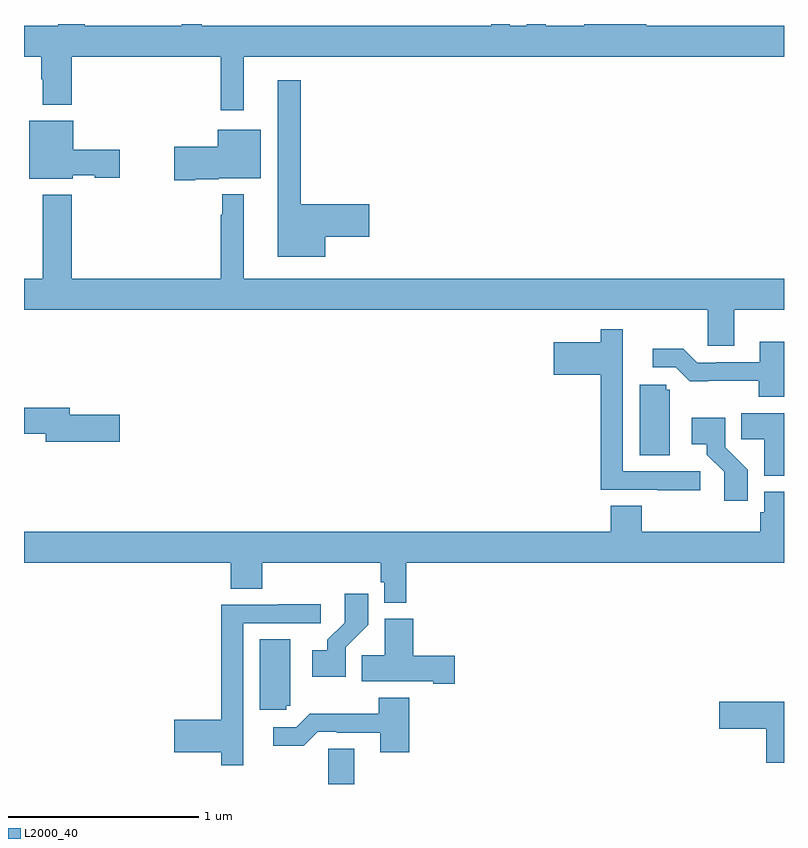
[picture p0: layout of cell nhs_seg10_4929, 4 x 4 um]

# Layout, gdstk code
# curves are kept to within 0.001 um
import gdstk
lib = gdstk.Library(unit=1e-6, precision=1e-09)
def R(c, l, rs):  # rectangles x0, y0, x1, y1
    for r in rs: c.add(gdstk.rectangle(r[:2], r[2:], *l))
def P(c, l, *ps):  # polygons
    for p in ps: c.add(gdstk.Polygon(p, *l))
L2000_40 = (2000, 40)

nhs_seg10_4929 = lib.new_cell('nhs_seg10_4929')
R(nhs_seg10_4929, L2000_40, [(396.6,1284.5,396.739,1284.686)])
P(nhs_seg10_4929, L2000_40, [(396.157,1288.328),(399,1288.328),(399,1288.492),(398.275,1288.492),(398.275,1288.5),(397.949,1288.5),(397.949,1288.492),(397.745,1288.492),(397.745,1288.5),(397.647,1288.5),(397.647,1288.492),(397.557,1288.492),(397.557,1288.5),(397.46,1288.5),(397.46,1288.492),(395.935,1288.492),(395.935,1288.5),(395.831,1288.5),(395.831,1288.492),(395.32,1288.492),(395.32,1288.5),(395.181,1288.5),(395.181,1288.492),(395,1288.492),(395,1288.328),(395.092,1288.328),(395.092,1288.208),(395.099,1288.208),(395.099,1288.076),(395.252,1288.076),(395.252,1288.328),(396.036,1288.328),(396.036,1288.047),(396.157,1288.047)],
  [(396.586,1287.38),(396.817,1287.38),(396.817,1287.551),(396.457,1287.551),(396.457,1288.204),(396.335,1288.204),(396.335,1287.275),(396.586,1287.275)],
  [(395.256,1287.704),(395.373,1287.704),(395.373,1287.692),(395.503,1287.692),(395.503,1287.839),(395.26,1287.839),(395.26,1287.991),(395.027,1287.991),(395.027,1287.686),(395.256,1287.686)],
  [(395.902,1287.683),(396.024,1287.683),(396.024,1287.689),(396.247,1287.689),(396.247,1287.943),(396.02,1287.943),(396.02,1287.855),(395.79,1287.855),(395.79,1287.677),(395.902,1287.677)],
  [(398.737,1286.996),(399,1286.996),(399,1287.16),(396.157,1287.16),(396.157,1287.604),(396.043,1287.604),(396.043,1287.497),(396.036,1287.497),(396.036,1287.16),(395.252,1287.16),(395.252,1287.601),(395.099,1287.601),(395.099,1287.16),(395,1287.16),(395,1286.996),(398.598,1286.996),(398.598,1286.806),(398.737,1286.806)],
  [(398.56,1286.145),(398.151,1286.145),(398.151,1286.67),(398.152,1286.67),(398.152,1286.893),(398.035,1286.893),(398.035,1286.824),(397.788,1286.824),(397.788,1286.654),(398.035,1286.654),(398.035,1286.049),(398.335,1286.049),(398.335,1286.047),(398.56,1286.047)],
  [(399,1286.827),(398.873,1286.827),(398.873,1286.721),(398.644,1286.721),(398.644,1286.718),(398.544,1286.718),(398.471,1286.791),(398.31,1286.791),(398.31,1286.694),(398.43,1286.694),(398.503,1286.621),(398.866,1286.622),(398.866,1286.537),(399,1286.537)],
  [(398.398,1286.574),(398.379,1286.574),(398.379,1286.601),(398.24,1286.601),(398.24,1286.23),(398.398,1286.23)],
  [(395.503,1286.444),(395.242,1286.444),(395.242,1286.48),(395,1286.48),(395,1286.344),(395.114,1286.344),(395.114,1286.302),(395.503,1286.302)],
  [(399,1286.452),(398.776,1286.452),(398.776,1286.314),(398.897,1286.314),(398.897,1286.123),(399,1286.123)],
  [(398.81,1286.154),(398.691,1286.273),(398.691,1286.428),(398.514,1286.428),(398.514,1286.288),(398.594,1286.288),(398.594,1286.233),(398.685,1286.143),(398.685,1285.992),(398.81,1285.992)],
  [(397.013,1285.664),(399,1285.664),(399,1286.038),(398.895,1286.038),(398.895,1285.929),(398.875,1285.929),(398.875,1285.828),(398.252,1285.828),(398.252,1285.964),(398.087,1285.964),(398.087,1285.828),(395,1285.828),(395,1285.664),(396.089,1285.664),(396.089,1285.528),(396.254,1285.528),(396.254,1285.664),(396.877,1285.664),(396.877,1285.563),(396.897,1285.563),(396.897,1285.454),(397.013,1285.454)],
  [(396.693,1285.219),(396.812,1285.338),(396.812,1285.501),(396.687,1285.501),(396.687,1285.349),(396.596,1285.259),(396.596,1285.204),(396.516,1285.204),(396.516,1285.064),(396.693,1285.064)],
  [(396.154,1284.822),(396.153,1284.822),(396.153,1285.347),(396.562,1285.347),(396.562,1285.446),(396.337,1285.446),(396.337,1285.443),(396.037,1285.443),(396.037,1284.839),(395.79,1284.839),(395.79,1284.668),(396.037,1284.668),(396.037,1284.6),(396.154,1284.6)],
  [(397.267,1285.175),(397.049,1285.175),(397.049,1285.369),(396.899,1285.369),(396.899,1285.178),(396.778,1285.178),(396.778,1285.04),(397.154,1285.04),(397.154,1285.028),(397.267,1285.028)],
  [(396.381,1284.912),(396.4,1284.912),(396.4,1285.261),(396.242,1285.261),(396.242,1284.891),(396.381,1284.891)],
  [(397.028,1284.955),(396.868,1284.955),(396.868,1284.871),(396.505,1284.871),(396.432,1284.798),(396.312,1284.798),(396.312,1284.701),(396.473,1284.701),(396.546,1284.774),(396.646,1284.774),(396.646,1284.771),(396.875,1284.771),(396.875,1284.666),(397.028,1284.666)],
  [(399,1284.932),(398.658,1284.932),(398.658,1284.79),(398.906,1284.79),(398.906,1284.611),(399,1284.611)])

lib.write_gds('nhs_seg10_4929.gds')
